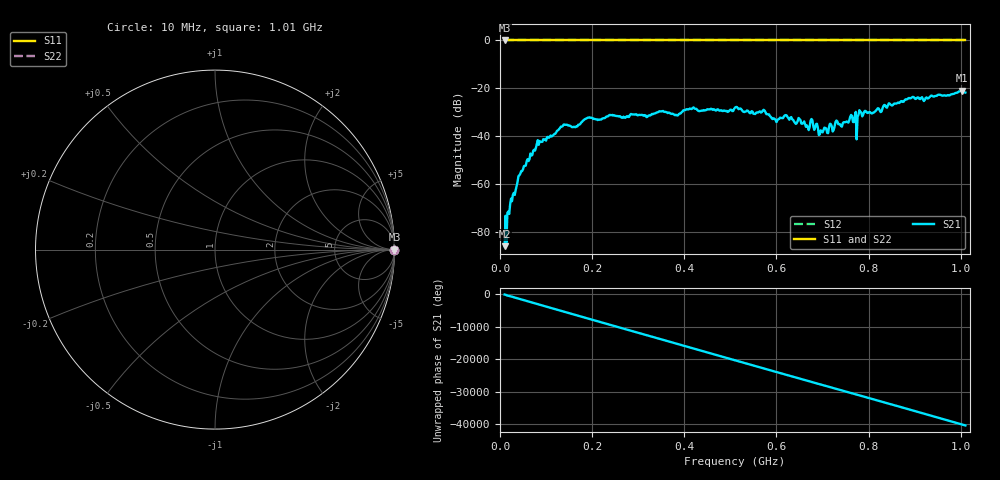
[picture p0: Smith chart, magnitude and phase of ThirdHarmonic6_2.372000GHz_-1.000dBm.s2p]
! 8/17/2025 3:43:16 AM
! C:\ANRITSUVNA\TEMP\TEMP.S2P
! CHANNEL.1
! TR.MEASUREMENT
! RAW.DATA
! RF.CORRECTION.OFF
! AVERAGING.OFF
! IF.BANDWIDTH: 5KHZ
! SWEEPTYPE:  FREQ.SWEEP(Linear)
! Reference Plane Port Info
! PORT:  PORT1  PORT2
! DISTANCE:  0  m  0  m
! TIME:  0  s  0  s
! PHASE.OFFSET:  0  deg.  0  deg.
! LOSS:  0  dB  0  dB
! REF.LOSS:  0  dB  0  dB
! REF.FREQ:  0  Hz  0  Hz
! Power Info
! POWER:  -20  dBm  -20  dBm
! EFF.POWER:  -20  dBm  -20  dBm
! SOURCE.ATTEN:  0  dB  0  dB
! TEST.ATTEN:  0  dB  0  dB
# GHZ S RI R 50.0
! FREQ.GHZ  S11RE  S11IM  S21RE  S21IM  S12RE  S12IM  S22RE  S22IM
!; PortSelection: Port_12
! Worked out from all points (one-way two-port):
!   501 points, 10 MHz to 1.01 GHz, reference 50 ohm
!   highest |S21| = -21.02 dB at 1.002 GHz (marker M1); lowest = -85.9 dB at 10 MHz (marker M2)
!   lowest |S11| = 0.0 dB at 10 MHz (marker M3)
!   |S11| at or under -10 dB: nowhere
!   |S22| runs from 0.0 to 0.0 dB; largest |S21 - S12| = 1.1
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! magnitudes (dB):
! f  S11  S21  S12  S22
! 10 MHz  0.0  -85.9  0.0  0.0
! 20 MHz  0.0  -72.4  0.0  0.0
! 42 MHz  0.0  -56.3  0.0  0.0
! 82 MHz  0.0  -41.6  0.0  0.0
! 136 MHz  0.0  -35.8  0.0  0.0
! 178 MHz  0.0  -34.0  0.0  0.0
! 344 MHz  0.0  -29.8  0.0  0.0
! 382 MHz  0.0  -31.0  0.0  0.0
! 416 MHz  0.0  -28.6  0.0  0.0
! 510 MHz  0.0  -28.0  0.0  0.0
! 572 MHz  0.0  -29.0  0.0  0.0
! 600 MHz  0.0  -34.1  0.0  0.0
! 620 MHz  0.0  -31.2  0.0  0.0
! 668 MHz  0.0  -36.1  0.0  0.0
! 678 MHz  0.0  -33.4  0.0  0.0
! 696 MHz  0.0  -37.5  0.0  0.0
! 760 MHz  0.0  -31.9  0.0  0.0
! 770 MHz  0.0  -31.8  0.0  0.0
! 780 MHz  0.0  -29.1  0.0  0.0
! 844 MHz  0.0  -26.2  0.0  0.0
! 1.002 GHz  0.0  -21.0  0.0  0.0
! 1.01 GHz  0.0  -21.8  0.0  0.0
